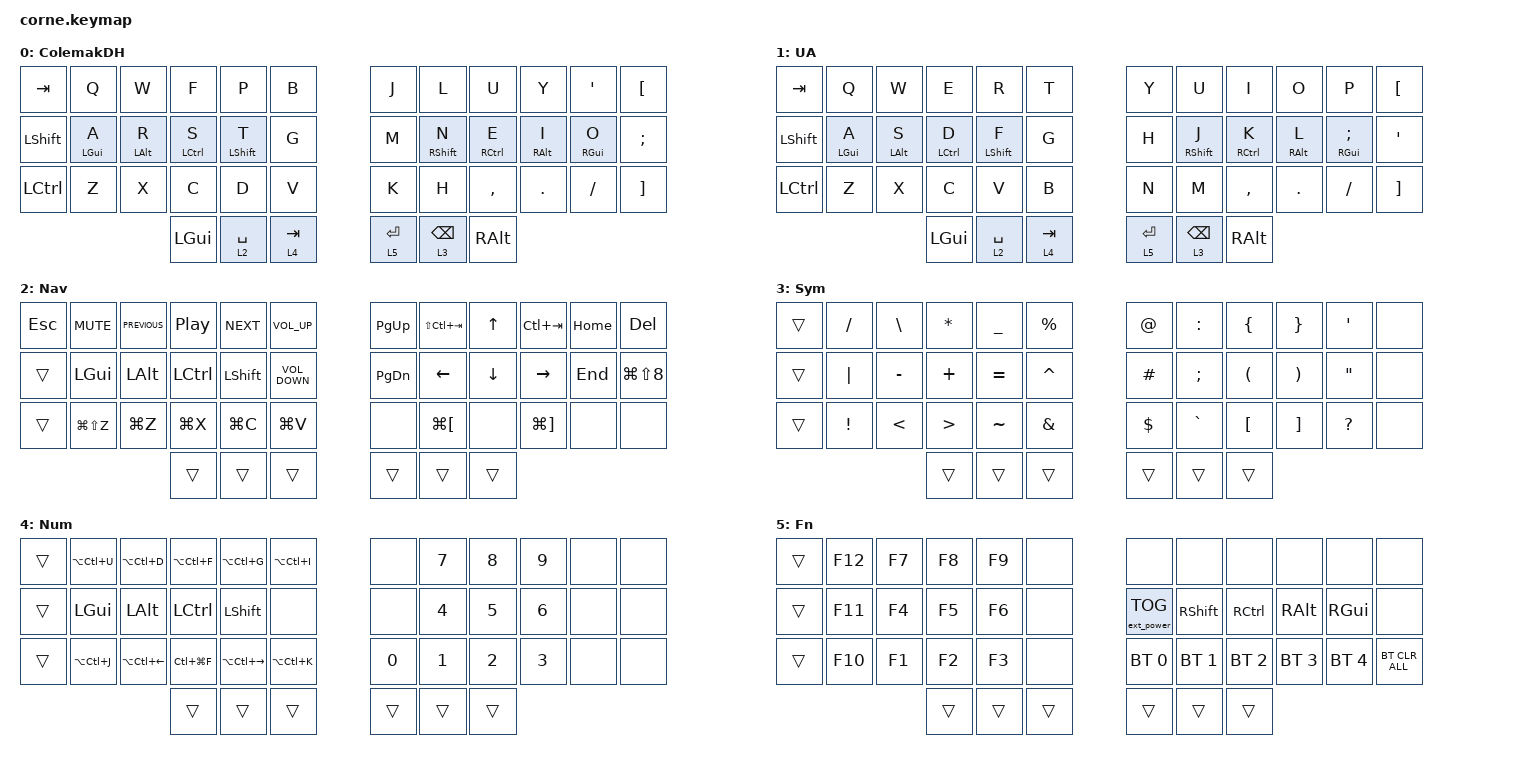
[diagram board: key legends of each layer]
/*
 * Copyright (c) 2020 The ZMK Contributors
 *
 * SPDX-License-Identifier: MIT
 */

#include <behaviors.dtsi>
#include <dt-bindings/zmk/bt.h>
#include <dt-bindings/zmk/ext_power.h>
#include <dt-bindings/zmk/keys.h>

&mt { flavor = "balanced"; };

/ {
    combos {
        compatible = "zmk,combos";

        to_qwerty {
            bindings = <&to 1>;
            key-positions = <0 11>;
            layers = <0>;
        };

        to_colemak_dh {
            bindings = <&to 0>;
            key-positions = <0 11>;
            layers = <1>;
        };
    };

    keymap {
        compatible = "zmk,keymap";

        colemak_dh {
            // -----------------------------------------------------------------------------------------
            // |  TAB |  Q  |  W  |  E  |  R  |  T  |   |  Y  |  U   |  I  |  O  |  P  | BKSP |
            // | CTRL |  A  |  S  |  D  |  F  |  G  |   |  H  |  J   |  K  |  L  |  ;  |  '   |
            // | SHFT |  Z  |  X  |  C  |  V  |  B  |   |  N  |  M   |  ,  |  .  |  /  | ESC  |
            //                    | GUI | LWR | SPC |   | ENT | RSE  | ALT |

            display-name = "ColemakDH";
            bindings = <
&kp TAB           &kp Q           &kp W           &kp F               &kp P             &kp B        &kp J        &kp L              &kp U                &kp Y            &kp SQT          &kp LBKT
&kp LEFT_SHIFT    &mt LEFT_GUI A  &mt LEFT_ALT R  &mt LEFT_CONTROL S  &mt LEFT_SHIFT T  &kp G        &kp M        &mt RIGHT_SHIFT N  &mt RIGHT_CONTROL E  &mt RIGHT_ALT I  &mt RIGHT_GUI O  &kp SEMI
&kp LEFT_CONTROL  &kp Z           &kp X           &kp C               &kp D             &kp V        &kp K        &kp H              &kp COMMA            &kp DOT          &kp FSLH         &kp RBKT
                                                  &kp LGUI            &lt 2 SPACE       &lt 4 TAB    &lt 5 ENTER  &lt 3 BACKSPACE    &kp RALT
            >;
        };

        QWERTY {
            bindings = <
&kp TAB    &kp Q           &kp W           &kp E               &kp R             &kp T        &kp Y        &kp U              &kp I                &kp O            &kp P                    &kp LBKT
&kp LSHFT  &mt LEFT_GUI A  &mt LEFT_ALT S  &mt LEFT_CONTROL D  &mt LEFT_SHIFT F  &kp G        &kp H        &mt RIGHT_SHIFT J  &mt RIGHT_CONTROL K  &mt RIGHT_ALT L  &mt RIGHT_GUI SEMICOLON  &kp SQT
&kp LCTRL  &kp Z           &kp X           &kp C               &kp V             &kp B        &kp N        &kp M              &kp COMMA            &kp DOT          &kp FSLH                 &kp RBKT
                                           &kp LEFT_GUI        &lt 2 SPACE       &lt 4 TAB    &lt 5 ENTER  &lt 3 BACKSPACE    &kp RIGHT_ALT
            >;

            label = "UA";
        };

        NAV {
            // -----------------------------------------------------------------------------------------
            // |  TAB |  1  |  2  |  3  |  4  |  5  |   |  6  |  7  |  8  |  9  |  0  | BKSP |
            // | BTCLR| BT1 | BT2 | BT3 | BT4 | BT5 |   | LFT | DWN |  UP | RGT |     |      |
            // | SHFT |     |     |     |     |     |   |     |     |     |     |     |      |
            //                    | GUI |     | SPC |   | ENT |     | ALT |

            display-name = "Nav";
            bindings = <
&kp ESCAPE  &kp C_MUTE     &kp C_PREVIOUS  &kp C_PLAY_PAUSE  &kp C_NEXT      &kp C_VOLUME_UP      &kp PAGE_UP    &kp LS(LC(TAB))       &kp UP_ARROW    &kp LC(TAB)            &kp HOME  &kp DELETE
&trans      &kp LEFT_GUI   &kp LEFT_ALT    &kp LEFT_CONTROL  &kp LEFT_SHIFT  &kp C_VOLUME_DOWN    &kp PAGE_DOWN  &kp LEFT_ARROW        &kp DOWN_ARROW  &kp RIGHT              &kp END   &kp LG(LS(NUMBER_8))
&trans      &kp LG(LS(Z))  &kp LG(Z)       &kp LG(X)         &kp LG(C)       &kp LG(V)            &none          &kp LG(LEFT_BRACKET)  &none           &kp LG(RIGHT_BRACKET)  &none     &none
                                           &trans            &trans          &trans               &trans         &trans                &trans
            >;
        };

        SYM {
            // -----------------------------------------------------------------------------------------
            // |  TAB |  !  |  @  |  #  |  $  |  %  |   |  ^  |  &  |  *  |  (  |  )  | BKSP |
            // | CTRL |     |     |     |     |     |   |  -  |  =  |  [  |  ]  |  \  |  `   |
            // | SHFT |     |     |     |     |     |   |  _  |  +  |  {  |  }  | "|" |  ~   |
            //                    | GUI |     | SPC |   | ENT |     | ALT |

            display-name = "Sym";
            bindings = <
&trans  &kp SLASH        &kp BACKSLASH  &kp ASTERISK      &kp UNDERSCORE  &kp PRCNT        &kp AT_SIGN  &kp COLON      &kp LEFT_BRACE        &kp RIGHT_BRACE        &kp SINGLE_QUOTE   &none
&trans  &kp PIPE         &kp MINUS      &kp PLUS          &kp EQUAL       &kp CARET        &kp HASH     &kp SEMICOLON  &kp LEFT_PARENTHESIS  &kp RIGHT_PARENTHESIS  &kp DOUBLE_QUOTES  &none
&trans  &kp EXCLAMATION  &kp LESS_THAN  &kp GREATER_THAN  &kp TILDE       &kp AMPERSAND    &kp DOLLAR   &kp GRAVE      &kp LEFT_BRACKET      &kp RIGHT_BRACKET      &kp QUESTION       &none
                                        &trans            &trans          &trans           &trans       &trans         &trans
            >;
        };

        NUM {
            bindings = <
&trans  &kp LA(LC(U))  &kp LA(LC(D))           &kp LA(LC(F))  &kp LA(LC(G))            &kp LA(LC(I))    &none   &kp N7  &kp N8  &kp N9  &none  &none
&trans  &kp LGUI       &kp LALT                &kp LCTRL      &kp LSHFT                &none            &none   &kp N4  &kp N5  &kp N6  &none  &none
&trans  &kp LA(LC(J))  &kp LA(LC(LEFT_ARROW))  &kp LC(LG(F))  &kp LA(LC(RIGHT_ARROW))  &kp LA(LC(K))    &kp N0  &kp N1  &kp N2  &kp N3  &none  &none
                                               &trans         &trans                   &trans           &trans  &trans  &trans
            >;

            label = "Num";
        };

        SYS {
            bindings = <
&trans  &kp F12  &kp F7  &kp F8  &kp F9  &none     &none              &none         &none         &none         &none         &none
&trans  &kp F11  &kp F4  &kp F5  &kp F6  &none     &ext_power EP_TOG  &kp RSHFT     &kp RCTRL     &kp RALT      &kp RGUI      &none
&trans  &kp F10  &kp F1  &kp F2  &kp F3  &none     &bt BT_SEL 0       &bt BT_SEL 1  &bt BT_SEL 2  &bt BT_SEL 3  &bt BT_SEL 4  &bt BT_CLR_ALL
                         &trans  &trans  &trans    &trans             &trans        &trans
            >;

            label = "Fn";
        };

        extra_1 { status = "reserved"; };

        extra_2 { status = "reserved"; };

        extra_3 { status = "reserved"; };
    };
};
